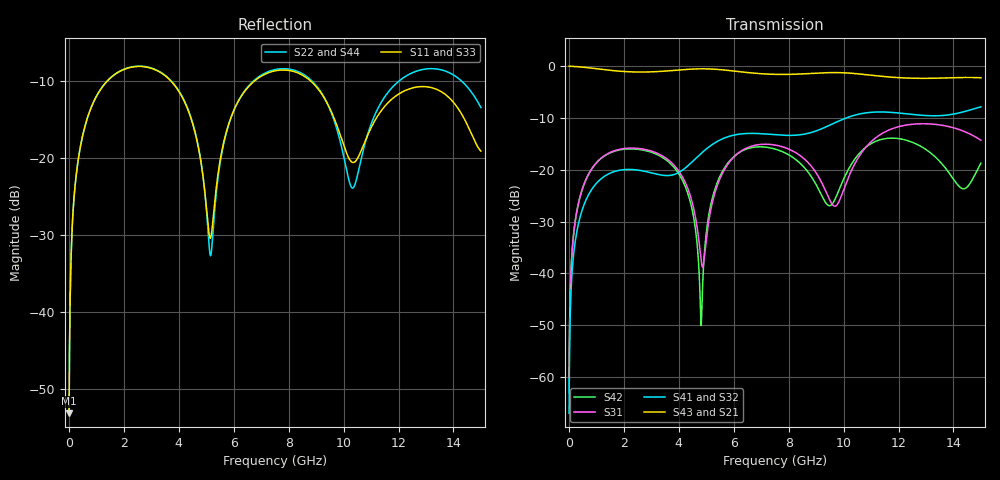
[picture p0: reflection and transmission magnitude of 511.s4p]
! Created with skrf 1.8.0 (http://scikit-rf.org).
# GHz S RI R 50.0
!freq ReS11 ImS11 ReS12 ImS12 ReS13 ImS13
! ReS14 ImS14
! ReS21 ImS21 ReS22 ImS22 ReS23 ImS23
! ReS24 ImS24
! ReS31 ImS31 ReS32 ImS32 ReS33 ImS33
! ReS34 ImS34
! ReS41 ImS41 ReS42 ImS42 ReS43 ImS43
! ReS44 ImS44
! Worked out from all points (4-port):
!   2499 points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, 5 MHz to 15 GHz, reference 50 ohm
!   strongest paths, dB at 5 MHz, 3.476 GHz, 7.19 GHz, 11.1 GHz, 15 GHz:
!     S43: 0.0, -1.0, -1.5, -1.8, -2.3
!     S21: 0.0, -1.0, -1.5, -1.8, -2.3
!     S41: -67.0, -21.1, -13.1, -8.9, -7.9
!     S32: -67.0, -21.1, -13.1, -8.9, -7.9
!     S31: -63.0, -17.6, -15.1, -14.1, -14.3
!     S42: -63.0, -17.9, -15.7, -14.7, -18.7
!   lowest |S11| = -53.2 dB at 5 MHz (marker M1), VSWR 1.00, Z = 50.2 + j0.132 ohm
!   |S11| at or under -10 dB: start of sweep to 1.411 GHz; 3.697 GHz to 6.772 GHz (3.075 GHz wide, 58.8 % of centre); 8.783 GHz to end of sweep
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0.005  0.00174 0.00132  0.9982 -0.00339  8.82e-05 0.000703  -8.55e-05 -0.000439
       0.9982 -0.00339  0.00174 0.00132  -8.55e-05 -0.000439  8.81e-05 0.000703
       8.82e-05 0.000703  -8.55e-05 -0.000439  0.00174 0.00132  0.9982 -0.00339
       -8.55e-05 -0.000439  8.81e-05 0.000703  0.9982 -0.00339  0.00174 0.00132
0.3126303  0.0265 0.0864  0.9636 -0.2101  0.0127 0.0414  -0.0104 -0.0255
           0.9636 -0.2101  0.0266 0.0864  -0.0104 -0.0255  0.0123 0.0415
           0.0127 0.0414  -0.0104 -0.0255  0.0265 0.0864  0.9636 -0.2101
           -0.0104 -0.0255  0.0123 0.0415  0.9636 -0.2101  0.0266 0.0864
1.469362  0.2707 0.1777  0.5459 -0.731  0.133 0.0594  -0.0918 -0.00553
          0.5459 -0.731  0.2724 0.1765  -0.0918 -0.00559  0.1286 0.0653
          0.133 0.0594  -0.0918 -0.00559  0.2708 0.1777  0.5459 -0.731
          -0.0918 -0.00553  0.1286 0.0653  0.5459 -0.731  0.2723 0.1765
4.808253  0.0466 -0.0802  -0.9004 -0.2743  -0.0115 -0.00724  -0.0369 0.1386
          -0.9004 -0.2743  0.0401 -0.085  -0.0376 0.1384  0.00318 -0.000414
          -0.0115 -0.00724  -0.0376 0.1384  0.0474 -0.0803  -0.9003 -0.2745
          -0.0369 0.1386  0.00318 -0.000414  -0.9003 -0.2745  0.0395 -0.0855
7.922051  0.3692 -0.0128  -0.0298 0.83  0.1283 -0.0979  0.2084 -0.0517
          -0.0298 0.83  0.3763 -0.0253  0.2079 -0.0495  0.1256 -0.0683
          0.1283 -0.0979  0.2079 -0.0495  0.3683 -0.0162  -0.03 0.8306
          0.2084 -0.0517  0.1256 -0.0683  -0.03 0.8306  0.3746 -0.0219
10.67945  0.1083 0.0392  0.8324 -0.0528  0.0716 0.1308  -0.0453 -0.3462
          0.8324 -0.0528  0.0845 0.0619  -0.0413 -0.3474  0.0234 0.1519
          0.0716 0.1308  -0.0413 -0.3474  0.1034 0.0404  0.8325 -0.0527
          -0.0453 -0.3462  0.0234 0.1519  0.8325 -0.0527  0.0892 0.0611
15  0.1102 -0.000537  -0.645 -0.4225  -0.1656 -0.0985  -0.221 0.339
    -0.645 -0.4225  0.1334 -0.1638  -0.2247 0.3354  0.0617 0.0979
    -0.1656 -0.0985  -0.2247 0.3354  0.112 0.0063  -0.6462 -0.4216
    -0.221 0.339  0.0617 0.0979  -0.6462 -0.4216  0.1241 -0.1644
